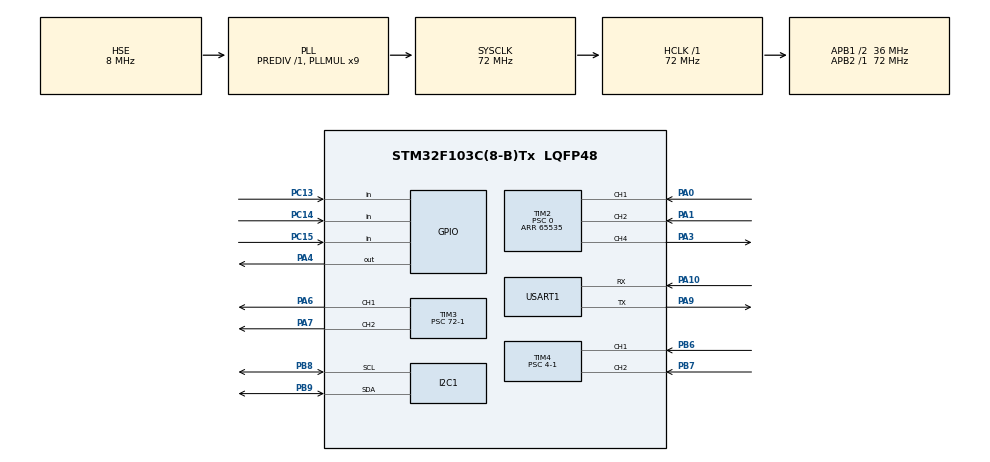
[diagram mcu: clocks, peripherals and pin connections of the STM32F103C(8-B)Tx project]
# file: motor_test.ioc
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Dma.Request0=USART1_RX
Dma.Request1=USART1_TX
Dma.USART1_RX.0.Direction=DMA_PERIPH_TO_MEMORY
Dma.USART1_RX.0.Instance=DMA1_Channel5
Dma.USART1_RX.0.MemDataAlignment=DMA_MDATAALIGN_BYTE
Dma.USART1_RX.0.MemInc=DMA_MINC_ENABLE
Dma.USART1_RX.0.Mode=DMA_CIRCULAR
Dma.USART1_RX.0.PeriphDataAlignment=DMA_PDATAALIGN_BYTE
Dma.USART1_RX.0.PeriphInc=DMA_PINC_DISABLE
Dma.USART1_RX.0.Priority=DMA_PRIORITY_MEDIUM
Dma.USART1_TX.1.Direction=DMA_MEMORY_TO_PERIPH
Dma.USART1_TX.1.Instance=DMA1_Channel4
Dma.USART1_TX.1.MemDataAlignment=DMA_MDATAALIGN_BYTE
Dma.USART1_TX.1.MemInc=DMA_MINC_ENABLE
Dma.USART1_TX.1.Mode=DMA_NORMAL
Dma.USART1_TX.1.PeriphDataAlignment=DMA_PDATAALIGN_BYTE
Dma.USART1_TX.1.PeriphInc=DMA_PINC_DISABLE
Dma.USART1_TX.1.Priority=DMA_PRIORITY_MEDIUM
I2C1.I2C_Mode=I2C_Fast
Mcu.Family=STM32F1
Mcu.Name=STM32F103C(8-B)Tx
Mcu.Package=LQFP48
NVIC.DMA1_Channel4_IRQn=true\:0\:0\:false\:false\:true\:false\:true\:true
NVIC.DMA1_Channel5_IRQn=true\:0\:0\:false\:false\:true\:false\:true\:true
NVIC.PriorityGroup=NVIC_PRIORITYGROUP_4
NVIC.TIM1_UP_IRQn=true\:9\:0\:true\:false\:true\:true\:true\:true
NVIC.TIM2_IRQn=true\:1\:0\:true\:false\:true\:true\:true\:true
NVIC.TIM4_IRQn=true\:1\:0\:true\:false\:true\:true\:true\:true
NVIC.USART1_IRQn=true\:0\:0\:false\:false\:true\:true\:true\:true
PA0-WKUP.Signal=S_TIM2_CH1_ETR
PA1.Signal=S_TIM2_CH2
PA10.Mode=Asynchronous
PA10.Signal=USART1_RX
PA13.Mode=JTAG_4_pins
PA13.Signal=SYS_JTMS-SWDIO
PA14.Mode=JTAG_4_pins
PA14.Signal=SYS_JTCK-SWCLK
PA15.Mode=JTAG_4_pins
PA15.Signal=SYS_JTDI
PA3.Signal=S_TIM2_CH4
PA4.Signal=GPIO_Output
PA6.Signal=S_TIM3_CH1
PA7.Signal=S_TIM3_CH2
PA9.Mode=Asynchronous
PA9.Signal=USART1_TX
PB3.Mode=JTAG_4_pins
PB3.Signal=SYS_JTDO-TRACESWO
PB6.Signal=S_TIM4_CH1
PB7.Signal=S_TIM4_CH2
PB8.Mode=I2C
PB8.Signal=I2C1_SCL
PB9.Mode=I2C
PB9.Signal=I2C1_SDA
PC13-TAMPER-RTC.GPIO_PuPd=GPIO_PULLUP
PC13-TAMPER-RTC.Signal=GPIO_Input
PC14-OSC32_IN.GPIO_PuPd=GPIO_PULLUP
PC14-OSC32_IN.Signal=GPIO_Input
PC15-OSC32_OUT.GPIO_PuPd=GPIO_PULLUP
PC15-OSC32_OUT.Signal=GPIO_Input
PD0-OSC_IN.Mode=HSE-External-Oscillator
PD0-OSC_IN.Signal=RCC_OSC_IN
PD1-OSC_OUT.Mode=HSE-External-Oscillator
PD1-OSC_OUT.Signal=RCC_OSC_OUT
ProjectManager.HeapSize=0x200
ProjectManager.StackSize=0x400
ProjectManager.TargetToolchain=MDK-ARM V5.32
RCC.AHBFreq_Value=72000000
RCC.APB1CLKDivider=RCC_HCLK_DIV2
RCC.APB1Freq_Value=36000000
RCC.APB1TimFreq_Value=72000000
RCC.APB2Freq_Value=72000000
RCC.APB2TimFreq_Value=72000000
RCC.HCLKFreq_Value=72000000
RCC.PLLMUL=RCC_PLL_MUL9
RCC.PLLSourceVirtual=RCC_PLLSOURCE_HSE
RCC.SYSCLKFreq_VALUE=72000000
RCC.SYSCLKSource=RCC_SYSCLKSOURCE_PLLCLK
RCC.USBFreq_Value=72000000
SH.S_TIM2_CH1_ETR.0=TIM2_CH1,Encoder_Interface
SH.S_TIM2_CH2.0=TIM2_CH2,Encoder_Interface
SH.S_TIM2_CH4.0=TIM2_CH4,PWM Generation4 CH4
SH.S_TIM3_CH1.0=TIM3_CH1,PWM Generation1 CH1
SH.S_TIM3_CH2.0=TIM3_CH2,PWM Generation2 CH2
SH.S_TIM4_CH1.0=TIM4_CH1,Encoder_Interface
SH.S_TIM4_CH2.0=TIM4_CH2,Encoder_Interface
TIM1.AutoReloadPreload=TIM_AUTORELOAD_PRELOAD_ENABLE
TIM1.Period=50-1
TIM1.Prescaler=7200-1
TIM2.AutoReloadPreload=TIM_AUTORELOAD_PRELOAD_ENABLE
TIM2.Channel-PWM\ Generation4\ CH4=TIM_CHANNEL_4
TIM2.EncoderMode=TIM_ENCODERMODE_TI12
TIM2.IC1Filter=0
TIM2.IC2Filter=0
TIM2.Period=65535
TIM2.Prescaler=0
TIM3.Channel-PWM\ Generation1\ CH1=TIM_CHANNEL_1
TIM3.Channel-PWM\ Generation2\ CH2=TIM_CHANNEL_2
TIM3.Period=10000-1
TIM3.Prescaler=72-1
TIM3.Pulse-PWM\ Generation2\ CH2=5000-1
TIM4.Period=20000
TIM4.Prescaler=4-1
USART1.VirtualMode=VM_ASYNC
VP_TIM1_VS_ClockSourceINT.Mode=Internal
board=custom

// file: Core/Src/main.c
/* USER CODE BEGIN Header */
/**
  ******************************************************************************
  * @file           : main.c
  * @brief          : Main program body
  ******************************************************************************
  * @attention
  *
  * Copyright (c) 2023 STMicroelectronics.
  * All rights reserved.
  *
  * This software is licensed under terms that can be found in the LICENSE file
  * in the root directory of this software component.
  * If no LICENSE file comes with this software, it is provided AS-IS.
  *
  ******************************************************************************
  */

/* USER CODE END Header */
#include "main.h"
#include "dma.h"
#include "i2c.h"
#include "tim.h"
#include "usart.h"
#include "gpio.h"

/* USER CODE BEGIN Includes */
#include "oled.h"
#include "stdio.h"
#include "math.h"
#include "bsp_pid.h"

/* USER CODE END Includes */

/* USER CODE BEGIN PV */
int Timer=0;
uint8_t speed=0;
extern short TargetSpeed;
/* USER CODE END PV */

void SystemClock_Config(void);

int main(void)
{
  /* USER CODE BEGIN 1 */
	HAL_GPIO_WritePin(GPIOA,4,GPIO_PIN_RESET);

  /* USER CODE END 1 */

  /* MCU Configuration--------------------------------------------------------*/

  /* Reset of all peripherals, Initializes the Flash interface and the Systick. */
  HAL_Init();

  /* Configure the system clock */
  SystemClock_Config();

  /* Initialize all configured peripherals */
  MX_GPIO_Init();
  MX_DMA_Init();
  MX_I2C1_Init();
  MX_TIM2_Init();
  MX_TIM3_Init();
  MX_TIM4_Init();
  MX_TIM1_Init();
  MX_USART1_UART_Init();
  /* USER CODE BEGIN 2 */
  HAL_TIM_PWM_Start(&htim3,TIM_CHANNEL_2);
  __HAL_TIM_CLEAR_FLAG(&htim1,TIM_FLAG_UPDATE);
  HAL_TIM_Base_Start_IT(&htim1);
  HAL_UART_Receive_DMA(&huart1,(uint8_t*)&TargetSpeed,sizeof(TargetSpeed));
  HAL_TIM_Encoder_Start(&htim2,TIM_CHANNEL_1|TIM_CHANNEL_2);
  OLED_Init();
  OLED_Clear();

  /* USER CODE END 2 */

  /* Infinite loop */
  while (1)
  {

  }
}

void SystemClock_Config(void)
{
  RCC_OscInitTypeDef RCC_OscInitStruct = {0};
  RCC_ClkInitTypeDef RCC_ClkInitStruct = {0};

  /** Initializes the RCC Oscillators according to the specified parameters
  * in the RCC_OscInitTypeDef structure.
  */
  RCC_OscInitStruct.OscillatorType = RCC_OSCILLATORTYPE_HSE;
  RCC_OscInitStruct.HSEState = RCC_HSE_ON;
  RCC_OscInitStruct.HSEPredivValue = RCC_HSE_PREDIV_DIV1;
  RCC_OscInitStruct.HSIState = RCC_HSI_ON;
  RCC_OscInitStruct.PLL.PLLState = RCC_PLL_ON;
  RCC_OscInitStruct.PLL.PLLSource = RCC_PLLSOURCE_HSE;
  RCC_OscInitStruct.PLL.PLLMUL = RCC_PLL_MUL9;
  if (HAL_RCC_OscConfig(&RCC_OscInitStruct) != HAL_OK)
  {
    Error_Handler();
  }

  /** Initializes the CPU, AHB and APB buses clocks
  */
  RCC_ClkInitStruct.ClockType = RCC_CLOCKTYPE_HCLK|RCC_CLOCKTYPE_SYSCLK
                              |RCC_CLOCKTYPE_PCLK1|RCC_CLOCKTYPE_PCLK2;
  RCC_ClkInitStruct.SYSCLKSource = RCC_SYSCLKSOURCE_PLLCLK;
  RCC_ClkInitStruct.AHBCLKDivider = RCC_SYSCLK_DIV1;
  RCC_ClkInitStruct.APB1CLKDivider = RCC_HCLK_DIV2;
  RCC_ClkInitStruct.APB2CLKDivider = RCC_HCLK_DIV1;

  if (HAL_RCC_ClockConfig(&RCC_ClkInitStruct, FLASH_LATENCY_2) != HAL_OK)
  {
    Error_Handler();
  }
}

void Error_Handler(void)
{
  __disable_irq();
  while (1)
  {
  }
}
